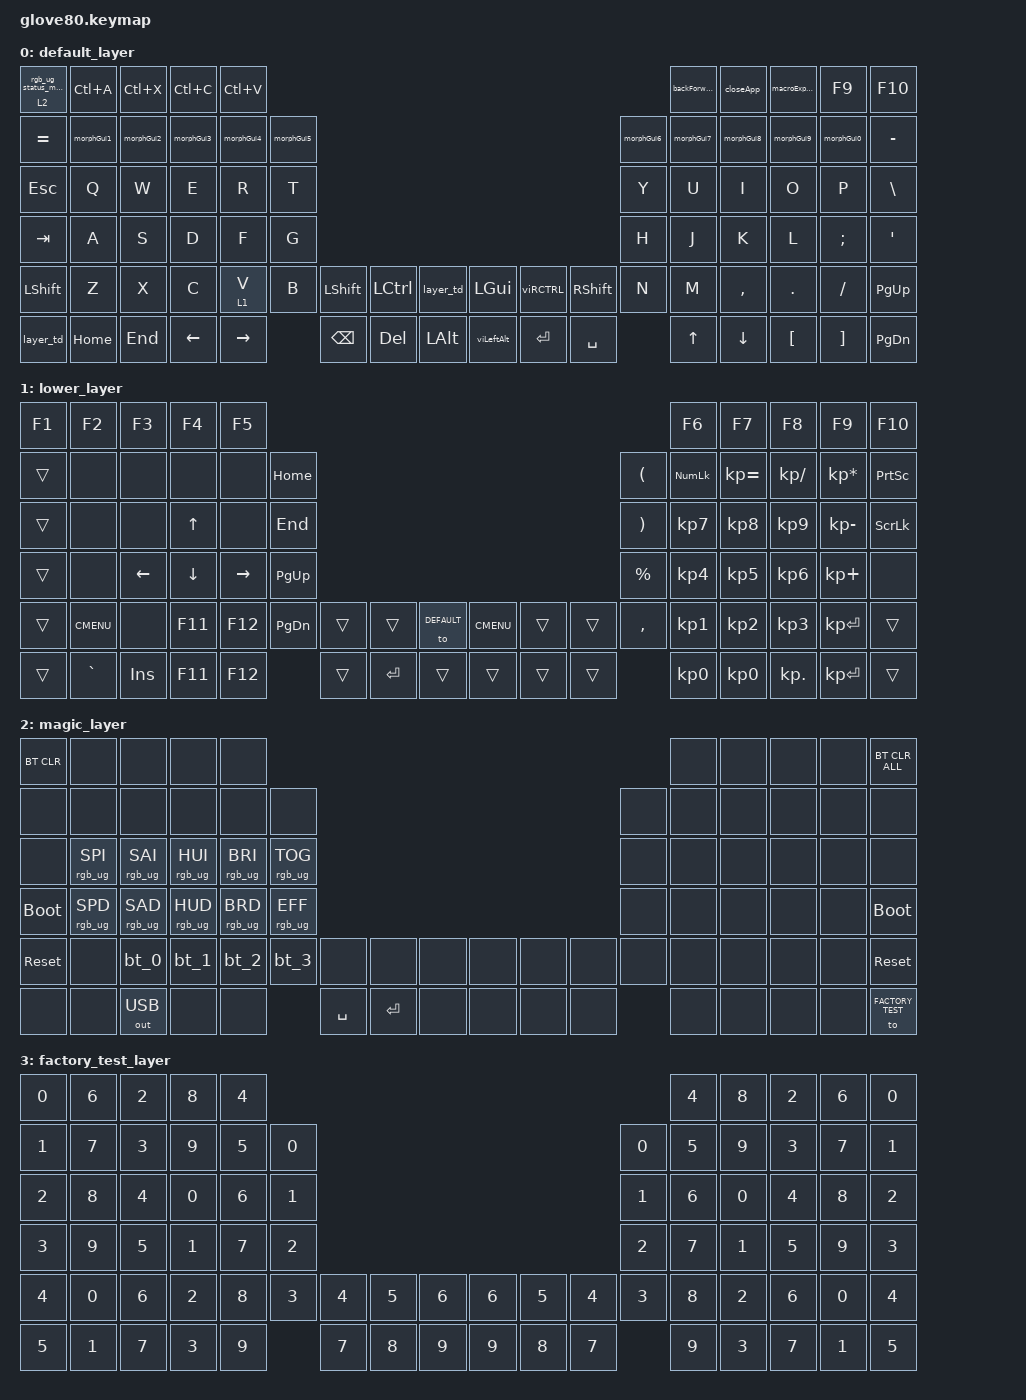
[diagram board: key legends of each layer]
/*
 * Copyright (c) 2020 The ZMK Contributors
 *
 * SPDX-License-Identifier: MIT
 */

#include <behaviors.dtsi>
#include <dt-bindings/zmk/bt.h>
#include <dt-bindings/zmk/keys.h>
#include <dt-bindings/zmk/outputs.h>
#include <dt-bindings/zmk/rgb.h>

#define HYPER LC(LS(LG(LALT)))

// layers

#define DEFAULT 0
#define LOWER 1
#define MAGIC 2
#define FACTORY_TEST 3

/ {
    behaviors {
        // For the "layer" key, it'd nice to be able to use it as either a shift or a toggle.
        // Configure it as a tap dance, so the first tap (or hold) is a &mo and the second tap is a &to

        layer_td: tap_dance_0 {
            compatible = "zmk,behavior-tap-dance";
            label = "LAYER_TAP_DANCE";
            #binding-cells = <0>;
            tapping-term-ms = <200>;
            bindings = <&mo LOWER>, <&to 1>;
        };

        magic: magic_hold_tap {
            compatible = "zmk,behavior-hold-tap";
            label = "MAGIC_HOLD_TAP";
            #binding-cells = <2>;
            flavor = "tap-preferred";
            tapping-term-ms = <200>;
            bindings = <&mo>, <&rgb_ug_status_macro>;
        };

        closeApp: closeApp {
            compatible = "zmk,behavior-tap-dance";
            label = "CLOSEAPP";
            #binding-cells = <0>;
            bindings = <&kp LC(F4)>, <&kp LA(F4)>;
        };

        backForward: backForward {
            compatible = "zmk,behavior-tap-dance";
            label = "BACKFORWARD";
            #binding-cells = <0>;
            bindings = <&macroBack>, <&macroForward>;
        };

        viRCTRL: viRCTRL {
            compatible = "zmk,behavior-tap-dance";
            label = "VIRCTRL";
            #binding-cells = <0>;
            bindings = <&kp LCTRL>, <&kp RCTRL>;
        };

        morphGui1: morphGui1 {
            compatible = "zmk,behavior-mod-morph";
            label = "MORPHGUI1";
            bindings = <&kp LG(N1)>, <&kp N1>;

            #binding-cells = <0>;
            keep-mods = <(MOD_RGUI|MOD_RALT|MOD_RSFT|MOD_RCTL|MOD_LGUI|MOD_LSFT|MOD_LCTL|MOD_LALT)>;
            mods = <(MOD_RGUI|MOD_RALT|MOD_RSFT|MOD_RCTL|MOD_LGUI|MOD_LALT|MOD_LSFT|MOD_LCTL)>;
        };

        morphGui2: morphGui2 {
            compatible = "zmk,behavior-mod-morph";
            label = "MORPHGUI2";
            bindings = <&kp LG(N2)>, <&kp N2>;

            #binding-cells = <0>;
            mods = <(MOD_LCTL|MOD_LSFT|MOD_LALT|MOD_LGUI|MOD_RCTL|MOD_RSFT|MOD_RALT|MOD_RGUI)>;
            keep-mods = <(MOD_LCTL|MOD_LSFT|MOD_LALT|MOD_LGUI|MOD_RCTL|MOD_RSFT|MOD_RALT|MOD_RGUI)>;
        };

        morphGui3: morphGui3 {
            compatible = "zmk,behavior-mod-morph";
            label = "MORPHGUI3";
            bindings = <&kp LG(N3)>, <&kp N3>;

            #binding-cells = <0>;
            mods = <(MOD_RGUI|MOD_RALT|MOD_RSFT|MOD_RCTL|MOD_LGUI|MOD_LALT|MOD_LSFT|MOD_LCTL)>;
            keep-mods = <(MOD_LCTL|MOD_LALT|MOD_LGUI|MOD_LSFT|MOD_RCTL|MOD_RSFT|MOD_RALT|MOD_RGUI)>;
        };

        morphGui4: morphGui4 {
            compatible = "zmk,behavior-mod-morph";
            label = "MORPHGUI4";
            bindings = <&kp LG(N4)>, <&kp N4>;

            #binding-cells = <0>;
            mods = <(MOD_LCTL|MOD_LSFT|MOD_LALT|MOD_LGUI|MOD_RCTL|MOD_RSFT|MOD_RALT|MOD_RGUI)>;
            keep-mods = <(MOD_LCTL|MOD_LSFT|MOD_LALT|MOD_LGUI|MOD_RCTL|MOD_RSFT|MOD_RGUI|MOD_RALT)>;
        };

        morphGui5: morphGui5 {
            compatible = "zmk,behavior-mod-morph";
            label = "MORPHGUI5";
            bindings = <&kp LG(N5)>, <&kp N5>;

            #binding-cells = <0>;
            mods = <(MOD_RGUI|MOD_RALT|MOD_RSFT|MOD_RCTL|MOD_LGUI|MOD_LALT|MOD_LSFT|MOD_LCTL)>;
            keep-mods = <(MOD_RGUI|MOD_RALT|MOD_RSFT|MOD_RCTL|MOD_LGUI|MOD_LALT|MOD_LSFT|MOD_LCTL)>;
        };

        morphGui6: morphGui6 {
            compatible = "zmk,behavior-mod-morph";
            label = "MORPHGUI6";
            bindings = <&kp LG(N6)>, <&kp N6>;

            #binding-cells = <0>;
            mods = <(MOD_LCTL|MOD_LSFT|MOD_LALT|MOD_LGUI|MOD_RCTL|MOD_RSFT|MOD_RGUI|MOD_RALT)>;
            keep-mods = <(MOD_RGUI|MOD_RALT|MOD_RSFT|MOD_RCTL|MOD_LGUI|MOD_LALT|MOD_LSFT|MOD_LCTL)>;
        };

        morphGui7: morphGui7 {
            compatible = "zmk,behavior-mod-morph";
            label = "MORPHGUI7";
            bindings = <&kp LG(N7)>, <&kp N7>;

            #binding-cells = <0>;
            mods = <(MOD_LCTL|MOD_LSFT|MOD_LALT|MOD_LGUI|MOD_RCTL|MOD_RSFT|MOD_RALT|MOD_RGUI)>;
            keep-mods = <(MOD_LCTL|MOD_LSFT|MOD_LALT|MOD_LGUI|MOD_RCTL|MOD_RSFT|MOD_RALT|MOD_RGUI)>;
        };

        morphGui8: morphGui8 {
            compatible = "zmk,behavior-mod-morph";
            label = "MORPHGUI8";
            bindings = <&kp LG(N8)>, <&kp N8>;

            #binding-cells = <0>;
            mods = <(MOD_LCTL|MOD_LSFT|MOD_LALT|MOD_LGUI|MOD_RCTL|MOD_RSFT|MOD_RALT|MOD_RGUI)>;
            keep-mods = <(MOD_LCTL|MOD_LSFT|MOD_LALT|MOD_LGUI|MOD_RCTL|MOD_RSFT|MOD_RALT|MOD_RGUI)>;
        };

        morphGui9: morphGui9 {
            compatible = "zmk,behavior-mod-morph";
            label = "MORPHGUI9";
            bindings = <&kp LG(N9)>, <&kp N9>;

            #binding-cells = <0>;
            mods = <(MOD_LCTL|MOD_LSFT|MOD_LALT|MOD_LGUI|MOD_RCTL|MOD_RSFT|MOD_RALT|MOD_RGUI)>;
            keep-mods = <(MOD_LCTL|MOD_LSFT|MOD_LALT|MOD_LGUI|MOD_RCTL|MOD_RSFT|MOD_RALT|MOD_RGUI)>;
        };

        morphGui0: morphGui0 {
            compatible = "zmk,behavior-mod-morph";
            label = "MORPHGUI0";
            bindings = <&kp LG(N0)>, <&kp N0>;

            #binding-cells = <0>;
            mods = <(MOD_LCTL|MOD_LSFT|MOD_LALT|MOD_LGUI|MOD_RCTL|MOD_RSFT|MOD_RALT|MOD_RGUI)>;
            keep-mods = <(MOD_LCTL|MOD_LSFT|MOD_LALT|MOD_LGUI|MOD_RCTL|MOD_RSFT|MOD_RALT|MOD_RGUI)>;
        };

        viLeftAlt: viLeftAlt {
            compatible = "zmk,behavior-tap-dance";
            label = "VILEFTALT";
            #binding-cells = <0>;
            bindings = <&kp LALT>, <&kp RALT>;
        };

        vihm: vihm {
            compatible = "zmk,behavior-hold-tap";
            label = "VIHM";
            bindings = <&mo>, <&kp>;

            #binding-cells = <2>;
            tapping-term-ms = <250>;
            quick-tap-ms = <250>;
            flavor = "tap-preferred";
        };
    };

    macros {
        rgb_ug_status_macro: rgb_ug_status_macro_0 {
            label = "RGB_UG_STATUS";
            compatible = "zmk,behavior-macro";
            #binding-cells = <0>;
            bindings = <&rgb_ug RGB_STATUS>;
        };

        bt_0: bt_profile_macro_0 {
            label = "BT_0";
            compatible = "zmk,behavior-macro";
            #binding-cells = <0>;
            bindings = <&out OUT_BLE &bt BT_SEL 0>;
        };

        bt_1: bt_profile_macro_1 {
            label = "BT_1";
            compatible = "zmk,behavior-macro";
            #binding-cells = <0>;
            bindings = <&out OUT_BLE &bt BT_SEL 1>;
        };

        bt_2: bt_profile_macro_2 {
            label = "BT_2";
            compatible = "zmk,behavior-macro";
            #binding-cells = <0>;
            bindings = <&out OUT_BLE &bt BT_SEL 2>;
        };

        bt_3: bt_profile_macro_3 {
            label = "BT_3";
            compatible = "zmk,behavior-macro";
            #binding-cells = <0>;
            bindings = <&out OUT_BLE &bt BT_SEL 3>;
        };

        macroBack: macroBack {
            compatible = "zmk,behavior-macro";
            #binding-cells = <0>;
            bindings = <&kp LA(LEFT) &kp ESC>;
            label = "MACROBACK";
            wait-ms = <300>;
            tap-ms = <100>;
        };

        macroForward: macroForward {
            compatible = "zmk,behavior-macro";
            #binding-cells = <0>;
            bindings = <&kp LA(RIGHT_ARROW) &kp ESC>;
            label = "MACROFORWARD";
            wait-ms = <300>;
            tap-ms = <100>;
        };

        macroExplorer: macroExplorer {
            compatible = "zmk,behavior-macro";
            #binding-cells = <0>;
            bindings = <&kp LG(N1) &kp LS(TAB) &kp HOME &kp ESC>;
            label = "MACROEXPLORER";
            wait-ms = <300>;
            tap-ms = <100>;
        };
    };

    keymap {
        compatible = "zmk,keymap";

        default_layer {
            // ---------------------------------------------------------------------------------------------------------------------------------
            // |  F1   |  F2 |  F3 |  F4  |  F5  |                                                               |  F6   |  F7   |  F8  |   F9  |  F10 |
            // |  =    |  1  |  2  |  3   |  4   |  5   |                                                 |  6   |   7   |   8   |  9   |   0   |   -  |
            // |  TAB  |  Q  |  W  |  E   |  R   |  T   |                                                 |  Y   |   U   |   I   |  O   |   P   |   \  |
            // |  ESC  |  A  |  S  |  D   |  F   |  G   |                                                 |  H   |   J   |   K   |  L   |   ;   |   '  |
            // |   `   |  Z  |  X  |  C   |  V   |  B   | LSHFT | LCTRL | LOWER | | LGUI  | RCTRL | RSHFT |  N   |   M   |   ,   |  .   |   /   | PGUP |
            // | MAGIC | HOME| END | LEFT | RIGHT|      | BSPC  | DEL   | LALT  | | RALT  | RET   | SPACE |      |  UP   | DOWN  |  [   |   ]   | PGDN |

            bindings = <
&magic 2 0  &kp LC(A)   &kp LC(X)   &kp LC(C)   &kp LC(V)                                                                                             &backForward  &closeApp   &macroExplorer  &kp F9      &kp F10
&kp EQUAL   &morphGui1  &morphGui2  &morphGui3  &morphGui4  &morphGui5                                                                    &morphGui6  &morphGui7    &morphGui8  &morphGui9      &morphGui0  &kp MINUS
&kp ESC     &kp Q       &kp W       &kp E       &kp R       &kp T                                                                         &kp Y       &kp U         &kp I       &kp O           &kp P       &kp BSLH
&kp TAB     &kp A       &kp S       &kp D       &kp F       &kp G                                                                         &kp H       &kp J         &kp K       &kp L           &kp SEMI    &kp SQT
&kp LSHIFT  &kp Z       &kp X       &kp C       &vihm 1 V   &kp B       &kp LSHFT  &kp LCTRL  &layer_td  &kp LGUI    &viRCTRL  &kp RSHFT  &kp N       &kp M         &kp COMMA   &kp DOT         &kp FSLH    &kp PG_UP
&layer_td   &kp HOME    &kp END     &kp LEFT    &kp RIGHT               &kp BSPC   &kp DEL    &kp LALT   &viLeftAlt  &kp RET   &kp SPACE              &kp UP        &kp DOWN    &kp LBKT        &kp RBKT    &kp PG_DN
            >;
        };

        lower_layer {
            bindings = <
&kp F1  &kp F2       &kp F3    &kp F4    &kp F5                                                                                        &kp F6      &kp F7        &kp F8         &kp F9           &kp F10
&trans  &none        &none     &none     &none      &kp HOME                                                                &kp LPAR   &kp KP_NUM  &kp KP_EQUAL  &kp KP_DIVIDE  &kp KP_MULTIPLY  &kp PSCRN
&trans  &none        &none     &kp UP    &none      &kp END                                                                 &kp RPAR   &kp KP_N7   &kp KP_N8     &kp KP_N9      &kp KP_MINUS     &kp SLCK
&trans  &none        &kp LEFT  &kp DOWN  &kp RIGHT  &kp PG_UP                                                               &kp PRCNT  &kp KP_N4   &kp KP_N5     &kp KP_N6      &kp KP_PLUS      &none
&trans  &kp K_CMENU  &none     &kp F11   &kp F12    &kp PG_DN  &trans  &trans     &to DEFAULT  &kp K_CMENU  &trans  &trans  &kp COMMA  &kp KP_N1   &kp KP_N2     &kp KP_N3      &kp KP_ENTER     &trans
&trans  &kp GRAVE    &kp INS   &kp F11   &kp F12               &trans  &kp ENTER  &trans       &trans       &trans  &trans             &kp KP_N0   &kp KP_N0     &kp KP_DOT     &kp KP_ENTER     &trans
            >;
        };

        magic_layer {
            bindings = <
&bt BT_CLR   &none            &none            &none            &none                                                                                      &none  &none  &none  &none  &bt BT_CLR_ALL
&none        &none            &none            &none            &none            &none                                                              &none  &none  &none  &none  &none  &none
&none        &rgb_ug RGB_SPI  &rgb_ug RGB_SAI  &rgb_ug RGB_HUI  &rgb_ug RGB_BRI  &rgb_ug RGB_TOG                                                    &none  &none  &none  &none  &none  &none
&bootloader  &rgb_ug RGB_SPD  &rgb_ug RGB_SAD  &rgb_ug RGB_HUD  &rgb_ug RGB_BRD  &rgb_ug RGB_EFF                                                    &none  &none  &none  &none  &none  &bootloader
&sys_reset   &none            &bt_0            &bt_1            &bt_2            &bt_3            &none      &none      &none  &none  &none  &none  &none  &none  &none  &none  &none  &sys_reset
&none        &none            &out OUT_USB     &none            &none                             &kp SPACE  &kp ENTER  &none  &none  &none  &none         &none  &none  &none  &none  &to FACTORY_TEST
            >;
        };

        factory_test_layer {
            bindings = <
&kp N0  &kp N6  &kp N2  &kp N8  &kp N4                                                                  &kp N4  &kp N8  &kp N2  &kp N6  &kp N0
&kp N1  &kp N7  &kp N3  &kp N9  &kp N5  &kp N0                                                  &kp N0  &kp N5  &kp N9  &kp N3  &kp N7  &kp N1
&kp N2  &kp N8  &kp N4  &kp N0  &kp N6  &kp N1                                                  &kp N1  &kp N6  &kp N0  &kp N4  &kp N8  &kp N2
&kp N3  &kp N9  &kp N5  &kp N1  &kp N7  &kp N2                                                  &kp N2  &kp N7  &kp N1  &kp N5  &kp N9  &kp N3
&kp N4  &kp N0  &kp N6  &kp N2  &kp N8  &kp N3  &kp N4  &kp N5  &kp N6  &kp N6  &kp N5  &kp N4  &kp N3  &kp N8  &kp N2  &kp N6  &kp N0  &kp N4
&kp N5  &kp N1  &kp N7  &kp N3  &kp N9          &kp N7  &kp N8  &kp N9  &kp N9  &kp N8  &kp N7          &kp N9  &kp N3  &kp N7  &kp N1  &kp N5
            >;
        };
    };
};
